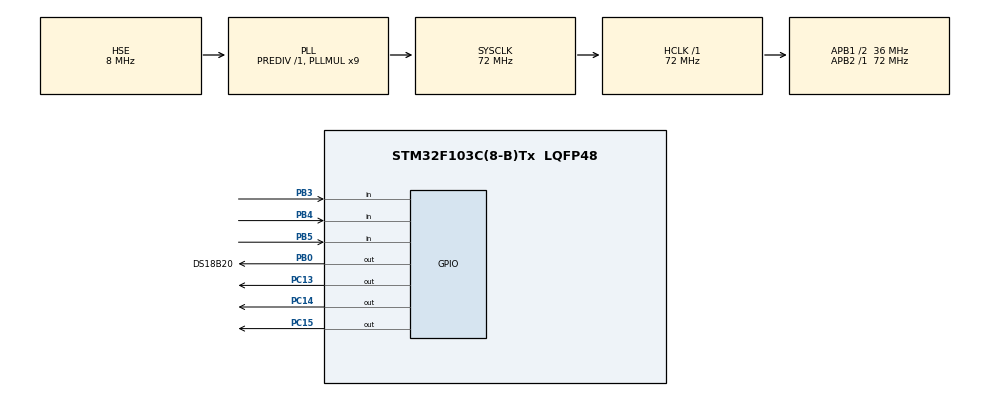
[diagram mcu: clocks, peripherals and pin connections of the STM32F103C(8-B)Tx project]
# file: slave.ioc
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FREERTOS.Tasks01=defaultTask,24,128,StartDefaultTask,Default,NULL,Dynamic,NULL,NULL;myTask02,24,128,button_task,Default,NULL,Dynamic,NULL,NULL;myTask03,24,128,sensor_task,Default,NULL,Dynamic,NULL,NULL
Mcu.Family=STM32F1
Mcu.Name=STM32F103C(8-B)Tx
Mcu.Package=LQFP48
NVIC.PriorityGroup=NVIC_PRIORITYGROUP_4
NVIC.TIM2_IRQn=true\:15\:0\:false\:false\:true\:false\:false\:true\:true
NVIC.TimeBase=TIM2_IRQn
NVIC.TimeBaseIP=TIM2
PA13.Mode=Serial_Wire
PA13.Signal=SYS_JTMS-SWDIO
PA14.Mode=Serial_Wire
PA14.Signal=SYS_JTCK-SWCLK
PB0.GPIO_Label=DS18B20
PB0.Signal=GPIO_Output
PB3.GPIO_Mode=GPIO_MODE_INPUT
PB3.GPIO_PuPd=GPIO_NOPULL
PB3.Signal=GPIO_Input
PB4.Signal=GPIO_Input
PB5.Signal=GPIO_Input
PC13-TAMPER-RTC.Signal=GPIO_Output
PC14-OSC32_IN.Signal=GPIO_Output
PC15-OSC32_OUT.Signal=GPIO_Output
PD0-OSC_IN.Mode=HSE-External-Oscillator
PD0-OSC_IN.Signal=RCC_OSC_IN
PD1-OSC_OUT.Mode=HSE-External-Oscillator
PD1-OSC_OUT.Signal=RCC_OSC_OUT
ProjectManager.HeapSize=0x200
ProjectManager.StackSize=0x400
ProjectManager.TargetToolchain=STM32CubeIDE
RCC.AHBFreq_Value=72000000
RCC.APB1CLKDivider=RCC_HCLK_DIV2
RCC.APB1Freq_Value=36000000
RCC.APB1TimFreq_Value=72000000
RCC.APB2Freq_Value=72000000
RCC.APB2TimFreq_Value=72000000
RCC.HCLKFreq_Value=72000000
RCC.PLLMUL=RCC_PLL_MUL9
RCC.PLLSourceVirtual=RCC_PLLSOURCE_HSE
RCC.SYSCLKFreq_VALUE=72000000
RCC.SYSCLKSource=RCC_SYSCLKSOURCE_PLLCLK
RCC.USBFreq_Value=72000000
TIM1.Prescaler=63
VP_FREERTOS_VS_CMSIS_V2.Mode=CMSIS_V2
VP_SYS_VS_tim2.Mode=TIM2
VP_TIM1_VS_ClockSourceINT.Mode=Internal
board=custom

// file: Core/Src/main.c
/* USER CODE BEGIN Header */
/**
  ******************************************************************************
  * @file           : main.c
  * @brief          : Main program body
  ******************************************************************************
  * @attention
  *
  * Copyright (c) 2023 STMicroelectronics.
  * All rights reserved.
  *
  * This software is licensed under terms that can be found in the LICENSE file
  * in the root directory of this software component.
  * If no LICENSE file comes with this software, it is provided AS-IS.
  *
  ******************************************************************************
  */
/* USER CODE END Header */
#include "main.h"
#include "cmsis_os.h"
#include "tim.h"
#include "gpio.h"

/* USER CODE BEGIN Includes */
#include "onewire.h"
#include "DS18B20.h"
/* USER CODE END Includes */

/* USER CODE BEGIN PV */
float temperature;
/* USER CODE END PV */

void SystemClock_Config(void);
void MX_FREERTOS_Init(void);

int main(void)
{

  /* MCU Configuration--------------------------------------------------------*/

  /* Reset of all peripherals, Initializes the Flash interface and the Systick. */
  HAL_Init();

  /* Configure the system clock */
  SystemClock_Config();

  /* Initialize all configured peripherals */
  MX_GPIO_Init();
  MX_TIM1_Init();
  /* USER CODE BEGIN 2 */
  DS18B20_Init(DS18B20_Resolution_12bits);

  /* USER CODE END 2 */

  /* Init scheduler */
  osKernelInitialize();  /* Call init function for freertos objects (in freertos.c) */
  MX_FREERTOS_Init();

  /* Start scheduler */
  osKernelStart();

  /* We should never get here as control is now taken by the scheduler */
  /* Infinite loop */
  while (1)
  {

  }
}

void SystemClock_Config(void)
{
  RCC_OscInitTypeDef RCC_OscInitStruct = {0};
  RCC_ClkInitTypeDef RCC_ClkInitStruct = {0};

  /** Initializes the RCC Oscillators according to the specified parameters
  * in the RCC_OscInitTypeDef structure.
  */
  RCC_OscInitStruct.OscillatorType = RCC_OSCILLATORTYPE_HSE;
  RCC_OscInitStruct.HSEState = RCC_HSE_ON;
  RCC_OscInitStruct.HSEPredivValue = RCC_HSE_PREDIV_DIV1;
  RCC_OscInitStruct.HSIState = RCC_HSI_ON;
  RCC_OscInitStruct.PLL.PLLState = RCC_PLL_ON;
  RCC_OscInitStruct.PLL.PLLSource = RCC_PLLSOURCE_HSE;
  RCC_OscInitStruct.PLL.PLLMUL = RCC_PLL_MUL9;
  if (HAL_RCC_OscConfig(&RCC_OscInitStruct) != HAL_OK)
  {
    Error_Handler();
  }

  /** Initializes the CPU, AHB and APB buses clocks
  */
  RCC_ClkInitStruct.ClockType = RCC_CLOCKTYPE_HCLK|RCC_CLOCKTYPE_SYSCLK
                              |RCC_CLOCKTYPE_PCLK1|RCC_CLOCKTYPE_PCLK2;
  RCC_ClkInitStruct.SYSCLKSource = RCC_SYSCLKSOURCE_PLLCLK;
  RCC_ClkInitStruct.AHBCLKDivider = RCC_SYSCLK_DIV1;
  RCC_ClkInitStruct.APB1CLKDivider = RCC_HCLK_DIV2;
  RCC_ClkInitStruct.APB2CLKDivider = RCC_HCLK_DIV1;

  if (HAL_RCC_ClockConfig(&RCC_ClkInitStruct, FLASH_LATENCY_2) != HAL_OK)
  {
    Error_Handler();
  }
}

void HAL_TIM_PeriodElapsedCallback(TIM_HandleTypeDef *htim)
{
  if (htim->Instance == TIM2) {
    HAL_IncTick();
  }
}

void Error_Handler(void)
{
  __disable_irq();
  while (1)
  {
  }
}

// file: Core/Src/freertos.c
/* USER CODE BEGIN Header */
/**
  ******************************************************************************
  * File Name          : freertos.c
  * Description        : Code for freertos applications
  ******************************************************************************
  * @attention
  *
  * Copyright (c) 2023 STMicroelectronics.
  * All rights reserved.
  *
  * This software is licensed under terms that can be found in the LICENSE file
  * in the root directory of this software component.
  * If no LICENSE file comes with this software, it is provided AS-IS.
  *
  ******************************************************************************
  */
/* USER CODE END Header */

#include "FreeRTOS.h"
#include "task.h"
#include "main.h"
#include "cmsis_os.h"

/* USER CODE BEGIN Includes */
#include "onewire.h"
#include "DS18B20.h"
/* USER CODE END Includes */

/* USER CODE BEGIN PTD */
typedef enum {
	NOT_MEASURING,
	START_MEASURING,
	STOP_MEASURING
} status_measure_t;
/* USER CODE END PTD */

/* USER CODE BEGIN Variables */
extern float temperature;
status_measure_t status_measure = NOT_MEASURING;
/* USER CODE END Variables */
/* Definitions for defaultTask */
osThreadId_t defaultTaskHandle;
const osThreadAttr_t defaultTask_attributes = {
  .name = "defaultTask",
  .stack_size = 128 * 4,
  .priority = (osPriority_t) osPriorityNormal,
};
/* Definitions for myTask02 */
osThreadId_t myTask02Handle;
const osThreadAttr_t myTask02_attributes = {
  .name = "myTask02",
  .stack_size = 128 * 4,
  .priority = (osPriority_t) osPriorityNormal,
};
/* Definitions for myTask03 */
osThreadId_t myTask03Handle;
const osThreadAttr_t myTask03_attributes = {
  .name = "myTask03",
  .stack_size = 128 * 4,
  .priority = (osPriority_t) osPriorityNormal,
};

void StartDefaultTask(void *argument);
void button_task(void *argument);
void sensor_task(void *argument);

void MX_FREERTOS_Init(void); /* (MISRA C 2004 rule 8.1) */

void MX_FREERTOS_Init(void) {

  /* Create the thread(s) */
  /* creation of defaultTask */
  defaultTaskHandle = osThreadNew(StartDefaultTask, NULL, &defaultTask_attributes);

  /* creation of myTask02 */
  myTask02Handle = osThreadNew(button_task, NULL, &myTask02_attributes);

  /* creation of myTask03 */
  myTask03Handle = osThreadNew(sensor_task, NULL, &myTask03_attributes);

}

void StartDefaultTask(void *argument)
{
  for(;;)
  {
    osDelay(1);
  }
}

void button_task(void *argument)
{
  /* USER CODE BEGIN button_task */
  /* Infinite loop */
  for(;;)
  {
	  if (HAL_GPIO_ReadPin(GPIOB, GPIO_PIN_3) == 0)
	  {
		  HAL_Delay(150);
		  if (HAL_GPIO_ReadPin(GPIOB, GPIO_PIN_3) == 0)
		  {
			  // todo: Start measuring
			  HAL_GPIO_TogglePin(GPIOC, GPIO_PIN_13);
			  status_measure = START_MEASURING;
		  }
	  } else if (HAL_GPIO_ReadPin(GPIOB, GPIO_PIN_4) == 0)
	  {
		  HAL_Delay(150);
		  if (HAL_GPIO_ReadPin(GPIOB, GPIO_PIN_4) == 0)
		  {
			  // todo: Stop measuring
			  HAL_GPIO_TogglePin(GPIOC, GPIO_PIN_14);
			  status_measure = STOP_MEASURING;
		  }
	  } else if (HAL_GPIO_ReadPin(GPIOB, GPIO_PIN_5) == 0)
	  {
		  HAL_Delay(150);
		  if (HAL_GPIO_ReadPin(GPIOB, GPIO_PIN_5) == 0)
		  {
			  // todo: Display voltage battery...
		  }
	  }

	  osDelay(1);
  }
  /* USER CODE END button_task */
}

void sensor_task(void *argument)
{
  /* USER CODE BEGIN sensor_task */
  /* Infinite loop */
  for(;;)
  {
    switch (status_measure)
    {
      case START_MEASURING: {
        DS18B20_ReadAll();
        DS18B20_StartAll();
        for(int i = 0; i < DS18B20_Quantity(); i++)
        {
          if(DS18B20_GetTemperature(i, &temperature))
          {
            osDelay(2000);
          }
        }
        break;
      }
      default: {break;}
	  }
    osDelay(1);
  }
  /* USER CODE END sensor_task */
}
